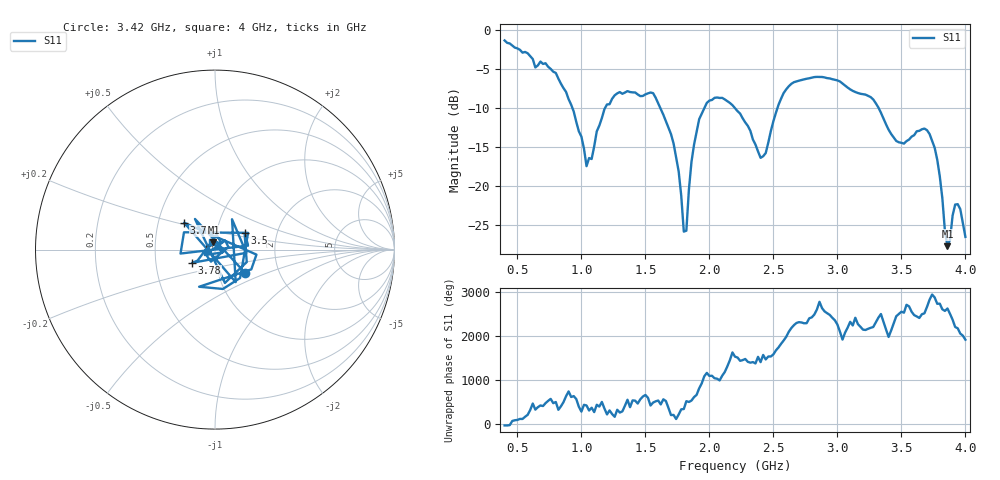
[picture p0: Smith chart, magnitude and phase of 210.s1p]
!Created with skrf (http://scikit-rf.org).
# Hz S RI R 50.0
!freq ReS11 ImS11
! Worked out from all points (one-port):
!   181 points, 400 MHz to 4 GHz, reference 50 ohm
!   lowest |S11| = -27.8 dB at 3.86 GHz (marker M1), VSWR 1.09, Z = 49 + j3.92 ohm
!   |S11| at or under -10 dB: 1.616 GHz to 1.962 GHz (345.8 MHz wide, 19.3 % of centre); 2.198 GHz to 2.532 GHz (334.6 MHz wide, 14.1 % of centre); 3.321 GHz to end of sweep (the widest 3 of 4)
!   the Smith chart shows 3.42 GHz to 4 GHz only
!   S11 on the Smith chart (normalised r, x): 3.42 GHz: 1.35, -0.37; 3.5 GHz: 1.37, +0.26; 3.7 GHz: 0.68, +0.21; 3.78 GHz: 0.77, -0.12; 4 GHz: 0.96, +0.08
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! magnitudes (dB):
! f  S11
! 400 MHz  -1.4
! 860 MHz  -7.5
! 1 GHz  -13.7
! 1.04 GHz  -17.5
! 1.18 GHz  -10.2
! 1.3 GHz  -8.0
! 1.56 GHz  -8.1
! 1.7 GHz  -13.4
! 1.76 GHz  -18.2
! 1.8 GHz  -25.9
! 1.82 GHz  -25.8
! 1.86 GHz  -16.9
! 1.92 GHz  -11.5
! 2.04 GHz  -8.7
! 2.2 GHz  -10.0
! 2.4 GHz  -16.4
! 2.56 GHz  -8.8
! 2.66 GHz  -6.7
! 3.1 GHz  -7.6
! 3.28 GHz  -8.9
! 3.42 GHz  -13.4
! 3.5 GHz  -14.5
! 3.56 GHz  -14.1
! 3.7 GHz  -12.9
! 3.78 GHz  -16.7
! 3.86 GHz  -27.8
! 3.92 GHz  -22.4
! 4 GHz  -26.6
